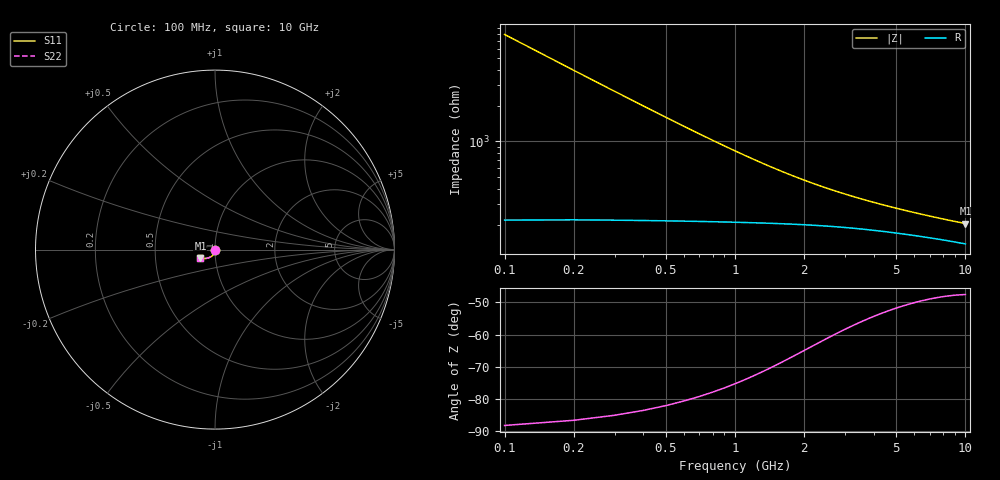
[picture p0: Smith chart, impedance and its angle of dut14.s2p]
! Touchstone file exported from HFSS 2024.1.0
!  File:  C:/UserFiles/LocalFiles/RDL_TSV_Batchsim/temp_TSV1_14_1778746637.aedt
!  Generated:  04:20:51 PM May 14, 2026
!  Design:  TSV1
!  Project:  temp_TSV1_14_1778746637
!  Setup:  Setup1
!  Solution:  Sweep
! Variables:
!  dtsv = 18.96um
!  hbump = 3um
!  htsv = 88.2um
!  lrdl = 252.1521522um
!  p = 40
!  p1 = 50.96um
!  t = 500um
!  trdl = 3um
!  wrdl = 24.89489489um
# GHz S MA R 50.000000
! Terminal data exported
! Port[1] = TSV22_T1
! Port[2] = TSV22_T2
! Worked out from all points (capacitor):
!   100 points, 100 MHz to 10 GHz, reference 50 ohm
!   read as one part in shunt: C = 202 fF near 100 MHz
!   lowest |Z| = 205 ohm at 10 GHz (marker M1)
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0.1  0.00284 -90.3  0.9998 -0.2  0.9998 -0.2  0.00284 -90.3
! Gamma 0 0 0 0
! Port Impedance 50 0 50 0
0.2  0.0057 -93.0  0.9995 -0.4  0.9995 -0.4  0.0057 -93.0
0.3  0.008531 -95.1  0.999 -0.6  0.999 -0.6  0.008531 -95.1
0.4  0.01132 -97.0  0.9984 -0.8  0.9984 -0.8  0.01132 -97.0
0.5  0.01407 -98.9  0.9976 -1.0  0.9976 -1.0  0.01407 -98.9
0.6  0.01677 -100.7  0.9967 -1.2  0.9967 -1.2  0.01677 -100.7
0.7  0.0194 -102.4  0.9956 -1.3  0.9956 -1.3  0.0194 -102.4
0.8  0.02196 -104.1  0.9944 -1.5  0.9944 -1.5  0.02196 -104.1
0.9  0.02445 -105.8  0.9932 -1.7  0.9932 -1.7  0.02445 -105.8
1.1  0.02918 -108.9  0.9905 -2.0  0.9905 -2.0  0.02918 -108.9
1.4  0.03566 -113.2  0.986 -2.4  0.986 -2.4  0.03566 -113.2
1.6  0.03956 -115.9  0.983 -2.6  0.983 -2.6  0.03956 -115.9
1.8  0.04315 -118.3  0.9799 -2.8  0.9799 -2.8  0.04315 -118.3
2.1  0.04799 -121.5  0.9754 -3.1  0.9754 -3.1  0.04799 -121.5
2.5  0.05357 -125.2  0.9698 -3.4  0.9698 -3.4  0.05357 -125.2
2.9  0.05833 -128.3  0.9647 -3.7  0.9647 -3.7  0.05833 -128.3
3.4  0.06339 -131.5  0.959 -4.0  0.959 -4.0  0.06339 -131.5
4.2  0.07001 -135.5  0.9513 -4.3  0.9513 -4.3  0.07001 -135.5
5.1  0.07596 -138.9  0.9442 -4.7  0.9442 -4.7  0.07596 -138.9
6.7  0.08402 -143.3  0.9344 -5.3  0.9344 -5.3  0.08402 -143.3
8.4  0.0903 -146.5  0.9268 -5.9  0.9268 -5.9  0.0903 -146.5
10  0.09484 -148.7  0.9214 -6.4  0.9214 -6.4  0.09484 -148.7
